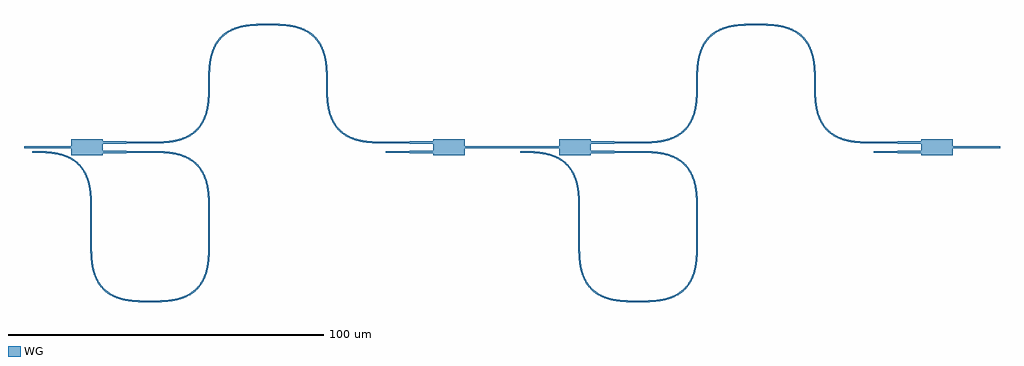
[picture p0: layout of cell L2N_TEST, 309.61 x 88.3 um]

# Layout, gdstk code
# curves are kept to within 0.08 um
from math import pi, radians
import gdstk
lib = gdstk.Library(unit=1e-6, precision=1e-09)
def R(c, l, rs):  # rectangles x0, y0, x1, y1
    for r in rs: c.add(gdstk.rectangle(r[:2], r[2:], *l))
def P(c, l, *ps):  # polygons
    for p in ps: c.add(gdstk.Polygon(p, *l))
WG = (1, 0)

l2n_bend_euler_cssym_028 = lib.new_cell('L2N.bend_euler_CSsym_028523d7_500_R10_A90_R150')
P(l2n_bend_euler_cssym_028, WG, [(0,-0.25),(0,0.25),(3.214,0.285),(5.343,0.413),(7.449,0.696),(9.255,1.116),(10.752,1.632),(12.178,2.312),(13.501,3.168),(14.496,4.019),(15.372,4.992),(16.258,6.294),(16.967,7.705),(17.51,9.193),(17.956,10.991),(18.262,13.093),(18.416,15.487),(18.451,18.701),(18.951,18.701),(18.924,15.741),(18.786,13.312),(18.544,11.43),(18.139,9.57),(17.532,7.761),(16.826,6.28),(16.095,5.121),(15.04,3.856),(13.801,2.769),(12.421,1.875),(10.94,1.169),(9.131,0.562),(7.271,0.157),(5.389,-0.085),(2.96,-0.223)])

l2n_straight_cssym_02852 = lib.new_cell('L2N.straight_CSsym_028523d7_500_L10000')
R(l2n_straight_cssym_02852, WG, [(0,-0.25,10,0.25)])

l2n_taper_cssym_028523d7 = lib.new_cell('L2N.taper_CSsym_028523d7_500_CSsym_028523d7_1000_L15000')
P(l2n_taper_cssym_028523d7, WG, [(15,-0.5),(0,-0.25),(0,0.25),(15,0.5)])

l2n_mmi_body = lib.new_cell('L2N.mmi_body')
R(l2n_mmi_body, WG, [(-5,-2.5,5,2.5)])

l2n_mmi = lib.new_cell('L2N.mmi')
l2n_mmi.add(gdstk.Reference(l2n_taper_cssym_028523d7, (20,-1.5), rotation=pi))
l2n_mmi.add(gdstk.Reference(l2n_taper_cssym_028523d7, (20,1.5), rotation=pi))
l2n_mmi.add(gdstk.Reference(l2n_taper_cssym_028523d7, (-20,0)))
l2n_mmi.add(gdstk.Reference(l2n_mmi_body, (0,0)))

l2n_mzi = lib.new_cell('L2N.mzi')
l2n_mzi.add(gdstk.Reference(l2n_bend_euler_cssym_028, (20,-1.5), x_reflection=True))
l2n_mzi.add(gdstk.Reference(l2n_straight_cssym_02852, (38.701,-20.201), rotation=3*pi/2))
l2n_mzi.add(gdstk.Reference(l2n_bend_euler_cssym_028, (1.299,-30.201), rotation=3*pi/2))
l2n_mzi.add(gdstk.Reference(l2n_bend_euler_cssym_028, (76.103,20.201), rotation=3*pi/2))
l2n_mzi.add(gdstk.Reference(l2n_bend_euler_cssym_028, (1.299,-20.201), rotation=pi/2))
l2n_mzi.add(gdstk.Reference(l2n_bend_euler_cssym_028, (76.103,20.201), rotation=pi/2))
l2n_mzi.add(gdstk.Reference(l2n_straight_cssym_02852, (1.299,-30.201), rotation=pi/2))
l2n_mzi.add(gdstk.Reference(l2n_bend_euler_cssym_028, (57.402,38.902), rotation=pi))
l2n_mzi.add(gdstk.Reference(l2n_bend_euler_cssym_028, (20,-48.902)))
l2n_mzi.add(gdstk.Reference(l2n_bend_euler_cssym_028, (20,1.5)))
l2n_mzi.add(gdstk.Reference(l2n_mmi, (114.804,0), rotation=pi))
l2n_mzi.add(gdstk.Reference(l2n_mmi, (0,0)))

l2n_test = lib.new_cell('L2N_TEST')
l2n_test.add(gdstk.Reference(l2n_mzi, (0,0)))
l2n_test.add(gdstk.Reference(l2n_mzi, (154.804,0)))

lib.write_gds('L2N_TEST.gds')
